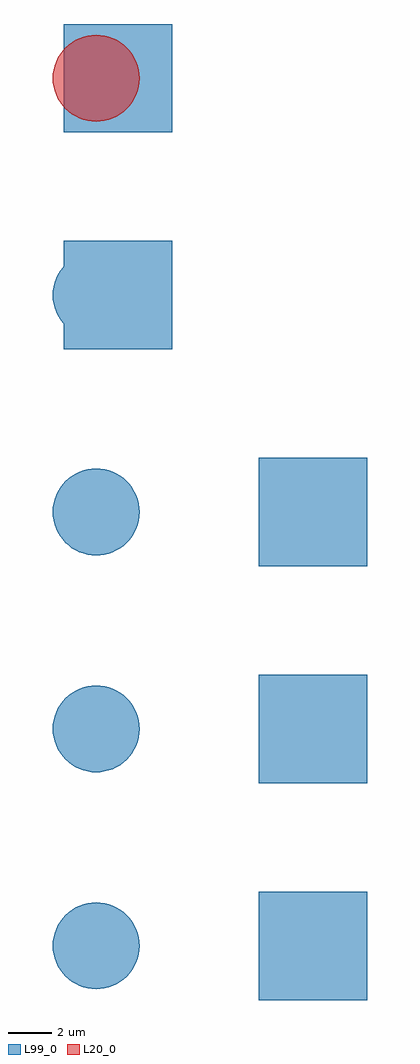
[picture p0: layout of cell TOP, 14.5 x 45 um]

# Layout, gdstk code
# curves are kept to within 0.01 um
import gdstk
lib = gdstk.Library(unit=1e-6, precision=1e-09)
def R(c, l, rs):  # rectangles x0, y0, x1, y1
    for r in rs: c.add(gdstk.rectangle(r[:2], r[2:], *l))
def P(c, l, *ps):  # polygons
    for p in ps: c.add(gdstk.Polygon(p, *l))
L20_0 = (20, 0)
L99_0 = (99, 0)

rect1 = lib.new_cell('rect1')
R(rect1, L99_0, [(7.5,-2.5,12.5,2.5)])

circle1 = lib.new_cell('circle1')

rect2 = lib.new_cell('rect2')

circle2 = lib.new_cell('circle2')

rect3 = lib.new_cell('rect3')

circle3 = lib.new_cell('circle3')

rect4 = lib.new_cell('rect4')

circle4 = lib.new_cell('circle4')

rect5 = lib.new_cell('rect5')

circle5 = lib.new_cell('circle5')

model = lib.new_cell('model')
model.add(gdstk.Reference(rect1, (0,0)))
model.add(gdstk.Reference(circle1, (0,0)))
model.add(gdstk.Reference(rect2, (0,0)))
model.add(gdstk.Reference(circle2, (0,0)))
model.add(gdstk.Reference(rect3, (0,0)))
model.add(gdstk.Reference(circle3, (0,0)))
model.add(gdstk.Reference(rect4, (0,0)))
model.add(gdstk.Reference(circle4, (0,0)))
model.add(gdstk.Reference(rect5, (0,0)))
model.add(gdstk.Reference(circle5, (0,0)))

circle5_1 = lib.new_cell('circle5$1')
P(circle5_1, L20_0, [(-0.005,38),(-0.395,38.039),(-0.769,38.154),(-1.115,38.339),(-1.417,38.589),(-1.665,38.892),(-1.766,39.06),(-1.849,39.238),(-1.962,39.613),(-1.991,39.807),(-2,40.003),(-1.961,40.393),(-1.847,40.768),(-1.763,40.945),(-1.661,41.113),(-1.413,41.416),(-1.109,41.664),(-0.764,41.849),(-0.388,41.962),(-0.194,41.991),(0.002,42),(0.392,41.961),(0.582,41.914),(0.766,41.847),(1.112,41.662),(1.415,41.414),(1.663,41.111),(1.848,40.765),(1.962,40.39),(2,40),(1.99,39.798),(1.96,39.604),(1.845,39.229),(1.66,38.884),(1.41,38.582),(1.107,38.334),(0.761,38.15),(0.385,38.037)])

rect1_1 = lib.new_cell('rect1$1')

circle1_1 = lib.new_cell('circle1$1')

rect2_1 = lib.new_cell('rect2$1')

circle2_1 = lib.new_cell('circle2$1')

rect3_1 = lib.new_cell('rect3$1')

circle3_1 = lib.new_cell('circle3$1')

rect4_1 = lib.new_cell('rect4$1')

circle4_1 = lib.new_cell('circle4$1')

rect5_1 = lib.new_cell('rect5$1')

model_1 = lib.new_cell('model$1')
model_1.add(gdstk.Reference(circle5_1, (0,0)))
model_1.add(gdstk.Reference(rect1_1, (0,0)))
model_1.add(gdstk.Reference(circle1_1, (0,0)))
model_1.add(gdstk.Reference(rect2_1, (0,0)))
model_1.add(gdstk.Reference(circle2_1, (0,0)))
model_1.add(gdstk.Reference(rect3_1, (0,0)))
model_1.add(gdstk.Reference(circle3_1, (0,0)))
model_1.add(gdstk.Reference(rect4_1, (0,0)))
model_1.add(gdstk.Reference(circle4_1, (0,0)))
model_1.add(gdstk.Reference(rect5_1, (0,0)))

circle1_2 = lib.new_cell('circle1$2')
P(circle1_2, L99_0, [(-0.005,-2),(-0.395,-1.961),(-0.769,-1.846),(-1.115,-1.661),(-1.417,-1.411),(-1.665,-1.108),(-1.766,-0.94),(-1.849,-0.762),(-1.962,-0.387),(-1.991,-0.193),(-2,0.003),(-1.961,0.393),(-1.847,0.768),(-1.763,0.945),(-1.661,1.113),(-1.413,1.416),(-1.109,1.664),(-0.764,1.849),(-0.388,1.962),(-0.194,1.991),(0.002,2),(0.392,1.961),(0.582,1.914),(0.766,1.847),(1.112,1.662),(1.415,1.414),(1.663,1.111),(1.848,0.765),(1.962,0.39),(2,0),(1.99,-0.202),(1.96,-0.396),(1.845,-0.771),(1.66,-1.116),(1.41,-1.418),(1.107,-1.666),(0.761,-1.85),(0.385,-1.963)])

rect1_2 = lib.new_cell('rect1$2')

rect2_2 = lib.new_cell('rect2$2')

circle2_2 = lib.new_cell('circle2$2')

rect3_2 = lib.new_cell('rect3$2')

circle3_2 = lib.new_cell('circle3$2')

rect4_2 = lib.new_cell('rect4$2')

circle4_2 = lib.new_cell('circle4$2')

rect5_2 = lib.new_cell('rect5$2')

circle5_2 = lib.new_cell('circle5$2')

model_2 = lib.new_cell('model$2')
model_2.add(gdstk.Reference(circle1_2, (0,0)))
model_2.add(gdstk.Reference(rect1_2, (0,0)))
model_2.add(gdstk.Reference(rect2_2, (0,0)))
model_2.add(gdstk.Reference(circle2_2, (0,0)))
model_2.add(gdstk.Reference(rect3_2, (0,0)))
model_2.add(gdstk.Reference(circle3_2, (0,0)))
model_2.add(gdstk.Reference(rect4_2, (0,0)))
model_2.add(gdstk.Reference(circle4_2, (0,0)))
model_2.add(gdstk.Reference(rect5_2, (0,0)))
model_2.add(gdstk.Reference(circle5_2, (0,0)))

rect2_3 = lib.new_cell('rect2$3')
R(rect2_3, L99_0, [(7.5,7.5,12.5,12.5)])

rect1_3 = lib.new_cell('rect1$3')

circle1_3 = lib.new_cell('circle1$3')

circle2_3 = lib.new_cell('circle2$3')

rect3_3 = lib.new_cell('rect3$3')

circle3_3 = lib.new_cell('circle3$3')

rect4_3 = lib.new_cell('rect4$3')

circle4_3 = lib.new_cell('circle4$3')

rect5_3 = lib.new_cell('rect5$3')

circle5_3 = lib.new_cell('circle5$3')

model_3 = lib.new_cell('model$3')
model_3.add(gdstk.Reference(rect2_3, (0,0)))
model_3.add(gdstk.Reference(rect1_3, (0,0)))
model_3.add(gdstk.Reference(circle1_3, (0,0)))
model_3.add(gdstk.Reference(circle2_3, (0,0)))
model_3.add(gdstk.Reference(rect3_3, (0,0)))
model_3.add(gdstk.Reference(circle3_3, (0,0)))
model_3.add(gdstk.Reference(rect4_3, (0,0)))
model_3.add(gdstk.Reference(circle4_3, (0,0)))
model_3.add(gdstk.Reference(rect5_3, (0,0)))
model_3.add(gdstk.Reference(circle5_3, (0,0)))

circle2_4 = lib.new_cell('circle2$4')
P(circle2_4, L99_0, [(-0.005,8),(-0.395,8.039),(-0.769,8.154),(-1.115,8.339),(-1.417,8.589),(-1.665,8.892),(-1.766,9.06),(-1.849,9.238),(-1.962,9.613),(-1.991,9.807),(-2,10.003),(-1.961,10.393),(-1.847,10.768),(-1.763,10.945),(-1.661,11.113),(-1.413,11.416),(-1.109,11.664),(-0.764,11.849),(-0.388,11.962),(-0.194,11.991),(0.002,12),(0.392,11.961),(0.582,11.914),(0.766,11.847),(1.112,11.662),(1.415,11.414),(1.663,11.111),(1.848,10.765),(1.962,10.39),(2,10),(1.99,9.798),(1.96,9.604),(1.845,9.229),(1.66,8.884),(1.41,8.582),(1.107,8.334),(0.761,8.15),(0.385,8.037)])

rect1_4 = lib.new_cell('rect1$4')

circle1_4 = lib.new_cell('circle1$4')

rect2_4 = lib.new_cell('rect2$4')

rect3_4 = lib.new_cell('rect3$4')

circle3_4 = lib.new_cell('circle3$4')

rect4_4 = lib.new_cell('rect4$4')

circle4_4 = lib.new_cell('circle4$4')

rect5_4 = lib.new_cell('rect5$4')

circle5_4 = lib.new_cell('circle5$4')

model_4 = lib.new_cell('model$4')
model_4.add(gdstk.Reference(circle2_4, (0,0)))
model_4.add(gdstk.Reference(rect1_4, (0,0)))
model_4.add(gdstk.Reference(circle1_4, (0,0)))
model_4.add(gdstk.Reference(rect2_4, (0,0)))
model_4.add(gdstk.Reference(rect3_4, (0,0)))
model_4.add(gdstk.Reference(circle3_4, (0,0)))
model_4.add(gdstk.Reference(rect4_4, (0,0)))
model_4.add(gdstk.Reference(circle4_4, (0,0)))
model_4.add(gdstk.Reference(rect5_4, (0,0)))
model_4.add(gdstk.Reference(circle5_4, (0,0)))

rect3_5 = lib.new_cell('rect3$5')
R(rect3_5, L99_0, [(7.5,17.5,12.5,22.5)])

rect1_5 = lib.new_cell('rect1$5')

circle1_5 = lib.new_cell('circle1$5')

rect2_5 = lib.new_cell('rect2$5')

circle2_5 = lib.new_cell('circle2$5')

circle3_5 = lib.new_cell('circle3$5')

rect4_5 = lib.new_cell('rect4$5')

circle4_5 = lib.new_cell('circle4$5')

rect5_5 = lib.new_cell('rect5$5')

circle5_5 = lib.new_cell('circle5$5')

model_5 = lib.new_cell('model$5')
model_5.add(gdstk.Reference(rect3_5, (0,0)))
model_5.add(gdstk.Reference(rect1_5, (0,0)))
model_5.add(gdstk.Reference(circle1_5, (0,0)))
model_5.add(gdstk.Reference(rect2_5, (0,0)))
model_5.add(gdstk.Reference(circle2_5, (0,0)))
model_5.add(gdstk.Reference(circle3_5, (0,0)))
model_5.add(gdstk.Reference(rect4_5, (0,0)))
model_5.add(gdstk.Reference(circle4_5, (0,0)))
model_5.add(gdstk.Reference(rect5_5, (0,0)))
model_5.add(gdstk.Reference(circle5_5, (0,0)))

circle3_6 = lib.new_cell('circle3$6')
P(circle3_6, L99_0, [(-0.005,18),(-0.395,18.039),(-0.769,18.154),(-1.115,18.339),(-1.417,18.589),(-1.665,18.892),(-1.766,19.06),(-1.849,19.238),(-1.962,19.613),(-1.991,19.807),(-2,20.003),(-1.961,20.393),(-1.847,20.768),(-1.763,20.945),(-1.661,21.113),(-1.413,21.416),(-1.109,21.664),(-0.764,21.849),(-0.388,21.962),(-0.194,21.991),(0.002,22),(0.392,21.961),(0.582,21.914),(0.766,21.847),(1.112,21.662),(1.415,21.414),(1.663,21.111),(1.848,20.765),(1.962,20.39),(2,20),(1.99,19.798),(1.96,19.604),(1.845,19.229),(1.66,18.884),(1.41,18.582),(1.107,18.334),(0.761,18.15),(0.385,18.037)])

rect1_6 = lib.new_cell('rect1$6')

circle1_6 = lib.new_cell('circle1$6')

rect2_6 = lib.new_cell('rect2$6')

circle2_6 = lib.new_cell('circle2$6')

rect3_6 = lib.new_cell('rect3$6')

rect4_6 = lib.new_cell('rect4$6')

circle4_6 = lib.new_cell('circle4$6')

rect5_6 = lib.new_cell('rect5$6')

circle5_6 = lib.new_cell('circle5$6')

model_6 = lib.new_cell('model$6')
model_6.add(gdstk.Reference(circle3_6, (0,0)))
model_6.add(gdstk.Reference(rect1_6, (0,0)))
model_6.add(gdstk.Reference(circle1_6, (0,0)))
model_6.add(gdstk.Reference(rect2_6, (0,0)))
model_6.add(gdstk.Reference(circle2_6, (0,0)))
model_6.add(gdstk.Reference(rect3_6, (0,0)))
model_6.add(gdstk.Reference(rect4_6, (0,0)))
model_6.add(gdstk.Reference(circle4_6, (0,0)))
model_6.add(gdstk.Reference(rect5_6, (0,0)))
model_6.add(gdstk.Reference(circle5_6, (0,0)))

rect4_7 = lib.new_cell('rect4$7')
R(rect4_7, L99_0, [(-1.5,27.5,3.5,32.5)])

rect1_7 = lib.new_cell('rect1$7')

circle1_7 = lib.new_cell('circle1$7')

rect2_7 = lib.new_cell('rect2$7')

circle2_7 = lib.new_cell('circle2$7')

rect3_7 = lib.new_cell('rect3$7')

circle3_7 = lib.new_cell('circle3$7')

circle4_7 = lib.new_cell('circle4$7')

rect5_7 = lib.new_cell('rect5$7')

circle5_7 = lib.new_cell('circle5$7')

model_7 = lib.new_cell('model$7')
model_7.add(gdstk.Reference(rect4_7, (0,0)))
model_7.add(gdstk.Reference(rect1_7, (0,0)))
model_7.add(gdstk.Reference(circle1_7, (0,0)))
model_7.add(gdstk.Reference(rect2_7, (0,0)))
model_7.add(gdstk.Reference(circle2_7, (0,0)))
model_7.add(gdstk.Reference(rect3_7, (0,0)))
model_7.add(gdstk.Reference(circle3_7, (0,0)))
model_7.add(gdstk.Reference(circle4_7, (0,0)))
model_7.add(gdstk.Reference(rect5_7, (0,0)))
model_7.add(gdstk.Reference(circle5_7, (0,0)))

circle4_8 = lib.new_cell('circle4$8')
P(circle4_8, L99_0, [(-0.005,28),(-0.395,28.039),(-0.769,28.154),(-1.115,28.339),(-1.417,28.589),(-1.665,28.892),(-1.766,29.06),(-1.849,29.238),(-1.962,29.613),(-1.991,29.807),(-2,30.003),(-1.961,30.393),(-1.847,30.768),(-1.763,30.945),(-1.661,31.113),(-1.413,31.416),(-1.109,31.664),(-0.764,31.849),(-0.388,31.962),(-0.194,31.991),(0.002,32),(0.392,31.961),(0.582,31.914),(0.766,31.847),(1.112,31.662),(1.415,31.414),(1.663,31.111),(1.848,30.765),(1.962,30.39),(2,30),(1.99,29.798),(1.96,29.604),(1.845,29.229),(1.66,28.884),(1.41,28.582),(1.107,28.334),(0.761,28.15),(0.385,28.037)])

rect1_8 = lib.new_cell('rect1$8')

circle1_8 = lib.new_cell('circle1$8')

rect2_8 = lib.new_cell('rect2$8')

circle2_8 = lib.new_cell('circle2$8')

rect3_8 = lib.new_cell('rect3$8')

circle3_8 = lib.new_cell('circle3$8')

rect4_8 = lib.new_cell('rect4$8')

rect5_8 = lib.new_cell('rect5$8')

circle5_8 = lib.new_cell('circle5$8')

model_8 = lib.new_cell('model$8')
model_8.add(gdstk.Reference(circle4_8, (0,0)))
model_8.add(gdstk.Reference(rect1_8, (0,0)))
model_8.add(gdstk.Reference(circle1_8, (0,0)))
model_8.add(gdstk.Reference(rect2_8, (0,0)))
model_8.add(gdstk.Reference(circle2_8, (0,0)))
model_8.add(gdstk.Reference(rect3_8, (0,0)))
model_8.add(gdstk.Reference(circle3_8, (0,0)))
model_8.add(gdstk.Reference(rect4_8, (0,0)))
model_8.add(gdstk.Reference(rect5_8, (0,0)))
model_8.add(gdstk.Reference(circle5_8, (0,0)))

rect5_9 = lib.new_cell('rect5$9')
R(rect5_9, L99_0, [(-1.5,37.5,3.5,42.5)])

rect1_9 = lib.new_cell('rect1$9')

circle1_9 = lib.new_cell('circle1$9')

rect2_9 = lib.new_cell('rect2$9')

circle2_9 = lib.new_cell('circle2$9')

rect3_9 = lib.new_cell('rect3$9')

circle3_9 = lib.new_cell('circle3$9')

rect4_9 = lib.new_cell('rect4$9')

circle4_9 = lib.new_cell('circle4$9')

circle5_9 = lib.new_cell('circle5$9')

model_9 = lib.new_cell('model$9')
model_9.add(gdstk.Reference(rect5_9, (0,0)))
model_9.add(gdstk.Reference(rect1_9, (0,0)))
model_9.add(gdstk.Reference(circle1_9, (0,0)))
model_9.add(gdstk.Reference(rect2_9, (0,0)))
model_9.add(gdstk.Reference(circle2_9, (0,0)))
model_9.add(gdstk.Reference(rect3_9, (0,0)))
model_9.add(gdstk.Reference(circle3_9, (0,0)))
model_9.add(gdstk.Reference(rect4_9, (0,0)))
model_9.add(gdstk.Reference(circle4_9, (0,0)))
model_9.add(gdstk.Reference(circle5_9, (0,0)))

top = lib.new_cell('TOP')
top.add(gdstk.Reference(model, (0,0)))
top.add(gdstk.Reference(model_1, (0,0)))
top.add(gdstk.Reference(model_2, (0,0)))
top.add(gdstk.Reference(model_3, (0,0)))
top.add(gdstk.Reference(model_4, (0,0)))
top.add(gdstk.Reference(model_5, (0,0)))
top.add(gdstk.Reference(model_6, (0,0)))
top.add(gdstk.Reference(model_7, (0,0)))
top.add(gdstk.Reference(model_8, (0,0)))
top.add(gdstk.Reference(model_9, (0,0)))

lib.write_gds('TOP.gds')
